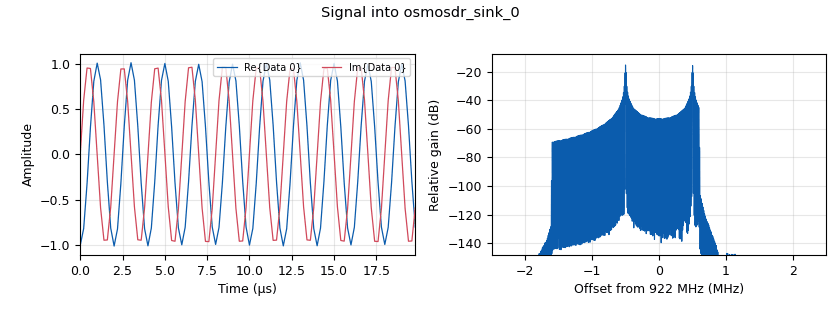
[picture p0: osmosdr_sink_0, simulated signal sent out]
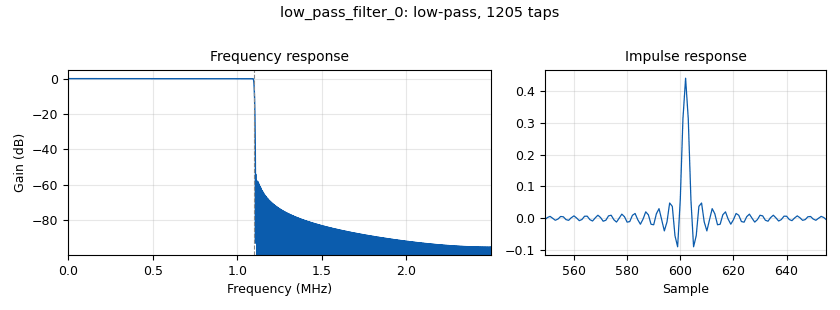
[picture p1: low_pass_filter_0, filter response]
options:
  parameters:
    author: 'Jesse Victors, Maxwell Dulin, assistance from Derek Kozel '
    description: Please see the series in https://blog.securityinnovation.com/cracking-a-sports-scoreboard-part-1 and https://maxwelldulin.com/BlogPost?post=8579892224
    generate_options: no_gui
    id: Scoreboard_TX
    output_language: python
    title: Scoreboard TX
  states: {}

blocks:
- name: FSK_offset_hz
  id: variable
  parameters:
    value: 1000 * 1e3
  states: {}
- name: bits_per_second
  id: variable
  parameters:
    comment: baud rate for 2FSK
    value: '12345'
  states: {}
- name: center_freq_MHz
  id: variable
  parameters:
    value: '922'
  states: {}
- name: digital_sequence
  id: variable
  parameters:
    value: (1, 0, 1, 0, 1, 0, 1, 0, 1, 0, 1, 0, 1, 0, 1, 0, 1, 0, 1, 0, 1, 0, 1, 0, 1, 0, 1, 0, 1, 0, 1, 0, 1, 0, 1, 0, 0, 0, 1, 0, 1, 1, 0, 1, 1, 1, 0, 1, 0, 1, 0, 0, 1, 1, 1, 0, 0, 1, 1, 0, 0, 1, 1, 1, 1, 0, 1, 0, 0, 0, 1, 0, 0, 0, 1, 0, 0, 1, 1, 1, 0, 1, 1, 0, 1, 1, 1, 1, 0, 0, 1, 1, 0, 1, 1, 0, 0, 1, 0, 1, 1, 0, 1, 1, 0, 0, 0, 0, 1, 1, 1, 0, 0, 1, 0, 1, 0, 1, 1, 1, 0, 0, 0, 1, 1, 1, 0, 1, 0, 0, 1, 0, 0, 0, 0, 1, 0, 1, 1, 0, 1, 1, 0, 1, 0, 0, 0, 1, 0, 1, 0, 0, 0, 0, 1, 1, 1, 1, 1, 0, 0, 1, 0, 1, 1, 0, 0, 0, 0, 0, 1, 1, 0, 0, 0, 1, 0, 1, 1, 1, 0, 0, 1, 0, 0, 1, 0, 0, 0, 1, 0, 1, 0, 1, 0, 0, 0, 0, 0, 1, 0, 1, 0, 1, 1, 1, 1, 0, 1, 1, 1, 1, 0, 1, 0, 0, 0, 0, 1, 1, 1, 1, 0, 0, 0, 0, 0, 0, 1, 0, 1, 0, 1, 0, 1, 1, 1, 0, 0, 1, 0, 0, 0, 0, 0, 0, 0, 1, 1, 1, 1, 0, 0, 0, 1, 0, 1, 0, 1, 0, 1, 1, 0, 1, 1, 1, 1, 1, 0, 1, 0, 0, 1, 0, 1, 0, 0, 0, 0, 1, 0, 0, 1, 1, 1, 0, 0, 1, 1, 0, 0, 0, 0, 0, 0, 0, 0, 0, 0, 1, 1, 1, 0, 1, 0, 0, 0, 1, 1, 1, 0, 1, 1, 1, 0, 0, 0, 1, 0, 0, 1, 0, 1, 1, 1, 1, 0, 1, 0, 1, 1, 0, 1, 0, 1, 0, 1, 0, 1, 0, 1, 0, 1, 0, 1, 0, 1, 0, 1, 0, 1, 0, 1, 0, 1, 0, 1, 0, 1, 0, 1, 0, 1, 0, 1, 0, 1, 0, 1, 0, 1, 0, 1, 0, 1, 0, 1, 0, 1, 0, 1, 0, 1, 0, 1, 0, 1, 0, 1, 0, 1, 0, 1, 0, 1)
  states: {}
- name: offset_freq
  id: variable
  parameters:
    comment: Transmission offset
    value: '-FSK_offset_hz / 2 '
  states: {}
- name: sample_rate
  id: variable
  parameters:
    comment: |-
      Transmission
      sampling rate
    value: FSK_offset_hz * sample_rate_coefficient
  states: {}
- name: sample_rate_coefficient
  id: variable
  parameters:
    value: '5'
  states: {}
- name: blocks_repeat_0
  id: blocks_repeat
  parameters:
    comment: |-
      Repeat each bit to
      match the expected
      bit rate within the
      sampling rate.
    interp: int(sample_rate / bits_per_second)
    type: float
  states: {}
- name: blocks_rotator_cc_0
  id: blocks_rotator_cc
  parameters:
    comment: |-
      Rotate the samples counter-clockwise
      around the complex unit circle, thus
      creating a negative frequency and 
      thus shifting the frequency.

      This way the wave is shifted 500 kHz
      (offset_freq) allowing us to avoid 
      the hardware noise from the HackRF
      One interfering in our signal.
    phase_inc: (math.pi * 2 * offset_freq) / sample_rate
  states: {}
- name: blocks_throttle_0
  id: blocks_throttle
  parameters:
    comment: |-
      Throttle stream to
      the final sampling rate.
    samples_per_second: sample_rate
    type: float
  states: {}
- name: blocks_vco_c_0
  id: blocks_vco_c
  parameters:
    amplitude: '1'
    comment: |-
      Voltage Controlled Oscillator.
      A larger value in the input
      creates a higher frequency.
      Delivering 1s and 0s thus
      creates frequency shift keying.

      The wave is represented as
      complex numbers, so the output
      port is blue now.
    samp_rate: sample_rate
    sensitivity: (2 * math.pi * FSK_offset_hz)
  states: {}
- name: blocks_vector_source_x_0
  id: blocks_vector_source_x
  parameters:
    comment: |-
      Binary to transmit.

      Note the orange output block;
      these values are floats.
    repeat: 'False'
    type: float
    vector: digital_sequence
  states: {}
- name: import_0
  id: import
  parameters:
    imports: import math
  states: {}
- name: low_pass_filter_0
  id: low_pass_filter
  parameters:
    comment: |-
      Low-pass filter removes
      high-frequency noise
      from the VCO block.
    cutoff_freq: FSK_offset_hz * 1.1
    decim: '1'
    gain: '1'
    samp_rate: sample_rate
    type: fir_filter_ccf
    width: '10000'
    win: window.WIN_HAMMING
  states: {}
- name: osmosdr_sink_0
  id: osmosdr_sink
  parameters:
    bb_gain0: '0'
    comment: |-
      Transmit into HackRF One.
      Frequency set to center_freq_MHz
    freq0: center_freq_MHz * 1e6
    gain0: '14'
    if_gain0: '47'
    sample_rate: sample_rate
    sync: sync
    type: fc32
  states: {}

connections:
- [blocks_repeat_0, '0', blocks_throttle_0, '0']
- [blocks_rotator_cc_0, '0', osmosdr_sink_0, '0']
- [blocks_throttle_0, '0', blocks_vco_c_0, '0']
- [blocks_vco_c_0, '0', low_pass_filter_0, '0']
- [blocks_vector_source_x_0, '0', blocks_repeat_0, '0']
- [low_pass_filter_0, '0', blocks_rotator_cc_0, '0']

metadata:
  file_format: 1
  grc_version: 3.9.8.0-rc1
